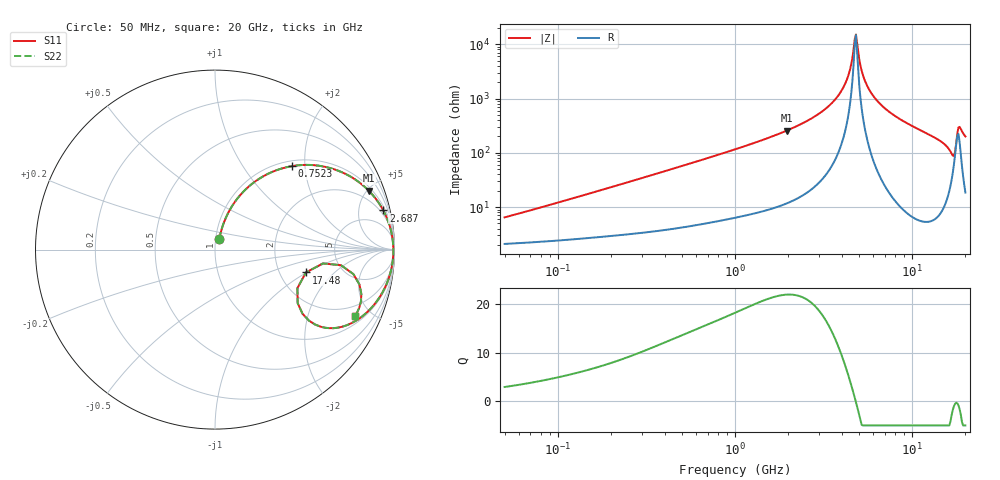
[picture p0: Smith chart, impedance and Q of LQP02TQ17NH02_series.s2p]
!Murata Part Number: LQP02TQ17NH02
!These Parameters are Measured in Series Mode Connection
!  o--[Z]--o
!Port1  Port2
!  o-------o
!Freq. Start=50[MHz] Stop=20[GHz], 401[Steps]
# Hz S RI R 50
!Freq.(Hz) S11(Real) S11(Imag) S21(Real) S21(Imag) S12(Real) S12(Imag) S22(Real) S22(Imag)
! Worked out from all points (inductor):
!   401 points, 50 MHz to 20 GHz, reference 50 ohm
!   read as one part in series: L = 19.2 nH near 52.3 MHz
!   highest Q = 21.9 at 1.962 GHz (marker M1), where L = 20.8 nH
!   self-resonance near 4.748 GHz
!   S11 on the Smith chart (normalised r, x): 50 MHz: 1.04, +0.12; 752.3 MHz: 1.11, +1.71; 2.687 GHz: 1.42, +8.48; 17.48 GHz: 2.80, -0.98; 20 GHz: 1.37, -3.98
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5e7  0.024 0.0584  0.976 -0.0584  0.976 -0.0584  0.024 0.0584
1.364002e8  0.0485 0.1479  0.9515 -0.1479  0.9515 -0.1479  0.0485 0.1479
3.721004e8  0.1733 0.3378  0.8267 -0.3378  0.8267 -0.3378  0.1733 0.3378
7.523192e8  0.4288 0.4651  0.5712 -0.4651  0.5712 -0.4651  0.4288 0.4651
1e9  0.568 0.4686  0.432 -0.4686  0.432 -0.4686  0.568 0.4686
1.962148e9  0.8573 0.3277  0.1427 -0.3277  0.1427 -0.3277  0.8573 0.3277
2.687447e9  0.9378 0.2181  0.0622 -0.2181  0.0622 -0.2181  0.9378 0.2181
2.728004e9  0.9407 0.2126  0.0593 -0.2126  0.0593 -0.2126  0.9407 0.2126
3.466789e9  0.9758 0.1235  0.0242 -0.1235  0.0242 -0.1235  0.9758 0.1235
4.026975e9  0.9881 0.067  0.0119 -0.067  0.0119 -0.067  0.9881 0.067
4.405649e9  0.992 0.0329  0.00795 -0.0329  0.00795 -0.0329  0.992 0.0329
4.677679e9  0.9933 0.0101  0.00667 -0.0101  0.00667 -0.0101  0.9933 0.0101
4.81993e9  0.9936 -0.00131  0.00643 0.00131  0.00643 0.00131  0.9936 -0.00131
5.194772e9  0.993 -0.0299  0.00705 0.0299  0.00705 0.0299  0.993 -0.0299
5.598765e9  0.9906 -0.0587  0.0094 0.0587  0.0094 0.0587  0.9906 -0.0587
7.442007e9  0.9646 -0.1696  0.0354 0.1696  0.0354 0.1696  0.9646 -0.1696
1.183995e10  0.8418 -0.3538  0.1582 0.3538  0.1582 0.3538  0.8418 -0.3538
1.527346e10  0.6605 -0.4376  0.3395 0.4376  0.3395 0.4376  0.6605 -0.4376
1.646126e10  0.5227 -0.3951  0.4773 0.3951  0.4773 0.3951  0.5227 -0.3951
1.747767e10  0.5067 -0.1273  0.4933 0.1273  0.4933 0.1273  0.5067 -0.1273
1.855685e10  0.8051 -0.1952  0.1949 0.1952  0.1949 0.1952  0.8051 -0.1952
2e10  0.7795 -0.3707  0.2205 0.3707  0.2205 0.3707  0.7795 -0.3707
